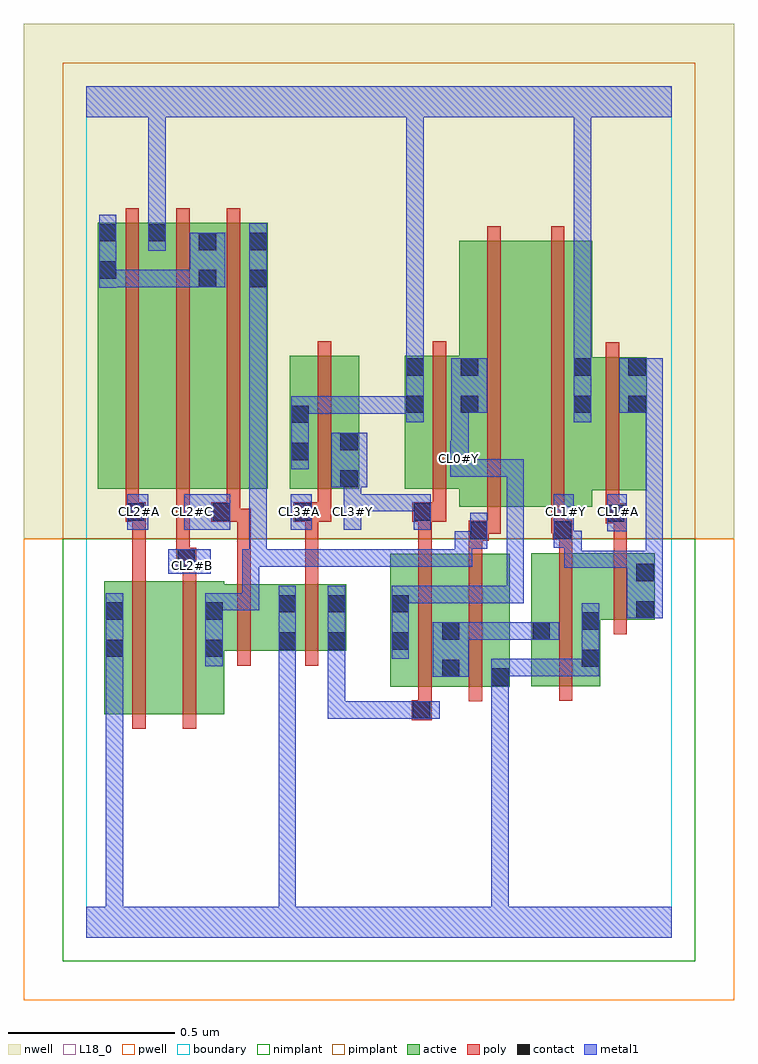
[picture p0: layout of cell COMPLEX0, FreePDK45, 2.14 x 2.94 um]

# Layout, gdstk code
import gdstk
lib = gdstk.Library(unit=1e-6, precision=1e-09)
def R(c, l, rs):  # rectangles x0, y0, x1, y1
    for r in rs: c.add(gdstk.rectangle(r[:2], r[2:], *l))
def A(c, l, x, y, w, h, nx, ny, dx, dy):  # array of equal rectangles
    R(c, l, [(x+i*dx, y+j*dy, x+i*dx+w, y+j*dy+h) for i in range(nx) for j in range(ny)])
active = (1, 0)
pwell = (2, 0)
nwell = (3, 0)
nimplant = (4, 0)
pimplant = (5, 0)
poly = (9, 0)
contact = (10, 0)
metal1 = (11, 0)
L18_0 = (18, 0)
boundary = (235, 0)

complex0 = lib.new_cell('COMPLEX0')
R(complex0, active, [(0.054,0.672,0.234,1.072), (0.234,0.672,0.414,1.072), (0.354,0.672,0.414,1.012), (0.914,0.754,1.126,1.154), (1.066,0.754,1.274,1.154), (1.214,0.754,1.274,1.154), (0.054,0.756,0.114,1.072), (0.914,0.756,0.974,1.154), (1.066,0.756,1.126,1.154), (1.338,0.756,1.398,1.156), (1.338,0.756,1.546,1.156), (1.486,0.756,1.546,1.156), (0.354,0.862,0.634,1.062), (0.574,0.862,0.782,1.062), (0.574,0.862,0.634,1.034), (0.722,0.862,0.782,1.062), (1.486,0.956,1.71,1.156), (1.65,0.956,1.71,1.156), (1.122,1.296,1.342,2.096), (1.342,1.296,1.522,2.096), (1.462,1.346,1.522,1.746), (1.462,1.346,1.686,1.746), (1.626,1.346,1.686,1.746), (0.034,1.35,0.242,2.15), (0.034,1.35,0.094,2.15), (0.182,1.35,0.394,2.15), (0.334,1.35,0.394,2.124), (0.334,1.35,0.546,2.15), (0.486,1.35,0.546,2.124), (0.612,1.35,0.82,1.75), (0.612,1.35,0.672,1.644), (0.76,1.35,0.82,1.644), (0.958,1.35,1.018,1.75), (0.958,1.35,1.182,1.75), (1.122,1.35,1.182,1.746), (0.182,1.686,0.242,2.15)])
R(complex0, pwell, [(-0.188,-0.188,1.948,1.2)])
R(complex0, nwell, [(-0.188,1.2,1.948,2.748)])
R(complex0, nimplant, [(-0.072,-0.072,1.832,1.2)])
R(complex0, pimplant, [(-0.072,1.2,1.832,2.632)])
A(complex0, poly, 0.118, 1.306, 0.04, 0.888, 3, 1, 0.152, 0)
R(complex0, poly, [(0.138,0.628,0.178,1.116), (0.29,0.628,0.33,1.116), (0.978,0.654,1.038,0.714), (0.998,0.674,1.038,0.75), (0.998,0.71,1.038,1.198), (1.15,0.71,1.19,1.198), (1.422,0.712,1.462,1.2), (0.454,0.818,0.494,1.106), (0.658,0.818,0.698,1.106), (1.586,0.912,1.626,1.2), (0.454,1.066,0.494,1.29), (0.658,1.066,0.698,1.29), (0.138,1.076,0.178,1.29), (0.29,1.076,0.33,1.152), (0.27,1.112,0.33,1.172), (0.27,1.132,0.31,1.172), (0.27,1.132,0.31,1.172), (0.27,1.132,0.31,1.346), (0.998,1.158,1.038,1.29), (1.15,1.158,1.19,1.234), (1.422,1.16,1.462,1.236), (1.586,1.16,1.626,1.286), (1.15,1.194,1.21,1.254), (1.402,1.196,1.462,1.256), (1.17,1.214,1.21,1.254), (1.17,1.214,1.246,1.254), (1.206,1.214,1.246,1.292), (1.398,1.216,1.438,1.292), (1.398,1.216,1.442,1.256), (1.402,1.216,1.442,1.256), (1.562,1.246,1.622,1.306), (1.582,1.246,1.622,1.286), (1.582,1.246,1.626,1.286), (0.118,1.25,0.178,1.31), (0.138,1.25,0.178,1.29), (0.138,1.25,0.178,1.29), (0.376,1.25,0.462,1.31), (0.422,1.25,0.462,1.29), (0.422,1.25,0.494,1.29), (0.622,1.25,0.736,1.31), (0.658,1.25,0.698,1.29), (0.658,1.25,0.698,1.29), (0.98,1.25,1.082,1.31), (0.998,1.25,1.038,1.29), (0.998,1.25,1.038,1.29), (1.206,1.252,1.246,2.14), (1.398,1.252,1.438,2.14), (1.562,1.266,1.602,1.342), (0.118,1.27,0.158,1.346), (0.422,1.27,0.462,1.346), (0.696,1.27,0.736,1.346), (1.042,1.27,1.082,1.346), (1.562,1.302,1.602,1.79), (0.696,1.306,0.736,1.794), (1.042,1.306,1.082,1.794)])
R(complex0, contact, [(0.982,0.658,1.034,0.71), (1.218,0.758,1.27,0.81), (1.07,0.784,1.122,0.836), (1.49,0.814,1.542,0.866), (0.058,0.844,0.11,0.896), (0.358,0.844,0.41,0.896), (0.578,0.866,0.63,0.918), (0.726,0.866,0.778,0.918), (0.918,0.866,0.97,0.918), (1.07,0.896,1.122,0.948), (1.342,0.896,1.394,0.948), (1.49,0.926,1.542,0.978), (0.058,0.956,0.11,1.008), (0.358,0.956,0.41,1.008), (1.654,0.96,1.706,1.012), (0.578,0.978,0.63,1.03), (0.726,0.978,0.778,1.03), (0.918,0.978,0.97,1.03), (1.654,1.072,1.706,1.124), (0.274,1.116,0.326,1.168), (1.154,1.198,1.206,1.25), (1.406,1.2,1.458,1.252), (1.566,1.25,1.618,1.302), (0.122,1.254,0.174,1.306), (0.38,1.254,0.432,1.306), (0.626,1.254,0.678,1.306), (0.984,1.254,1.036,1.306), (0.764,1.354,0.816,1.406), (0.616,1.436,0.668,1.488), (0.764,1.466,0.816,1.518), (0.616,1.548,0.668,1.6), (0.962,1.578,1.014,1.63), (1.126,1.578,1.178,1.63), (1.466,1.578,1.518,1.63), (1.63,1.578,1.682,1.63), (0.962,1.69,1.014,1.742), (1.126,1.69,1.178,1.742), (1.466,1.69,1.518,1.742), (1.63,1.69,1.682,1.742), (0.338,1.956,0.39,2.008), (0.49,1.956,0.542,2.008), (0.038,1.982,0.09,2.034), (0.338,2.068,0.39,2.12), (0.49,2.068,0.542,2.12), (0.038,2.094,0.09,2.146), (0.186,2.094,0.238,2.146)])
R(complex0, metal1, [(0,0,1.76,0.092), (0.058,0.04,0.11,0.868), (0.578,0.04,0.63,0.092), (0.578,0.04,0.63,0.092), (0.578,0.04,0.63,0.092), (0.578,0.04,0.63,0.092), (0.578,0.04,0.63,0.092), (0.578,0.04,0.63,0.092), (0.578,0.04,0.63,0.092), (0.578,0.04,0.63,0.092), (0.578,0.04,0.63,0.89), (1.218,0.04,1.27,0.092), (1.218,0.04,1.27,0.092), (1.218,0.04,1.27,0.092), (1.218,0.04,1.27,0.092), (1.218,0.04,1.27,0.092), (1.218,0.04,1.27,0.092), (1.218,0.04,1.27,0.092), (1.218,0.04,1.27,0.092), (1.218,0.04,1.27,0.092), (1.218,0.04,1.27,0.092), (1.218,0.04,1.27,0.092), (1.218,0.04,1.27,0.092), (1.218,0.04,1.27,0.782), (0.726,0.658,0.778,0.71), (0.726,0.658,0.778,0.71), (0.726,0.658,0.778,0.71), (0.726,0.658,0.778,0.71), (0.726,0.658,0.778,0.71), (0.726,0.658,0.984,0.71), (0.726,0.658,0.778,0.89), (0.932,0.658,0.984,0.71), (0.932,0.658,1.006,0.71), (0.954,0.658,1.062,0.71), (1.218,0.73,1.27,0.838), (1.042,0.784,1.15,0.948), (1.218,0.786,1.38,0.838), (1.328,0.786,1.38,0.838), (1.328,0.786,1.38,0.838), (1.328,0.786,1.38,0.838), (1.328,0.786,1.542,0.838), (1.49,0.786,1.542,1.006), (0.058,0.816,0.11,0.868), (0.058,0.816,0.11,0.868), (0.058,0.816,0.11,0.868), (0.058,0.816,0.11,0.868), (0.058,0.816,0.11,0.868), (0.058,0.816,0.11,0.868), (0.058,0.816,0.11,0.868), (0.058,0.816,0.11,0.868), (0.058,0.816,0.11,0.868), (0.058,0.816,0.11,0.868), (0.058,0.816,0.11,0.868), (0.058,0.816,0.11,0.868), (0.058,0.816,0.11,1.036), (0.358,0.816,0.41,1.036), (0.578,0.838,0.63,0.89), (0.578,0.838,0.63,0.89), (0.578,0.838,0.63,0.89), (0.578,0.838,0.63,0.89), (0.578,0.838,0.63,0.89), (0.578,0.838,0.63,0.89), (0.578,0.838,0.63,0.89), (0.578,0.838,0.63,0.89), (0.578,0.838,0.63,1.058), (0.726,0.838,0.778,1.058), (0.918,0.838,0.97,1.058), (1.098,0.896,1.15,0.948), (1.098,0.896,1.15,0.948), (1.098,0.896,1.27,0.948), (1.218,0.896,1.27,0.948), (1.218,0.896,1.366,0.948), (1.314,0.896,1.422,0.948), (1.626,0.96,1.734,1.124), (0.358,0.984,0.52,1.036), (0.468,0.984,0.52,1.036), (0.468,0.984,0.52,1.036), (0.468,0.984,0.52,1.036), (0.468,0.984,0.52,1.168), (0.918,1.006,1.04,1.058), (0.988,1.006,1.04,1.058), (0.988,1.006,1.16,1.058), (1.108,1.006,1.16,1.058), (1.108,1.006,1.16,1.058), (1.108,1.006,1.16,1.058), (1.108,1.006,1.316,1.058), (1.264,1.006,1.316,1.058), (1.264,1.006,1.316,1.438), (1.682,1.072,1.734,1.164), (0.246,1.094,0.374,1.168), (1.438,1.112,1.734,1.164), (1.438,1.112,1.49,1.224), (1.682,1.112,1.734,1.63), (1.682,1.112,1.734,1.164), (1.682,1.112,1.734,1.164), (1.682,1.112,1.734,1.164), (1.682,1.112,1.734,1.164), (1.682,1.112,1.734,1.164), (0.468,1.116,0.542,1.168), (0.49,1.116,0.542,1.168), (0.49,1.116,0.542,1.168), (0.49,1.116,0.668,1.168), (0.49,1.116,0.542,1.98), (0.616,1.116,0.668,1.168), (0.616,1.116,0.826,1.168), (0.774,1.116,0.826,1.168), (0.774,1.116,0.826,1.168), (0.774,1.116,0.826,1.168), (0.774,1.116,0.936,1.168), (0.884,1.116,0.936,1.168), (0.884,1.116,0.936,1.168), (0.884,1.116,0.936,1.168), (0.884,1.116,1.16,1.168), (1.108,1.116,1.16,1.222), (1.108,1.17,1.206,1.222), (1.154,1.17,1.206,1.278), (1.406,1.172,1.466,1.334), (1.414,1.172,1.49,1.224), (1.566,1.222,1.626,1.334), (0.122,1.226,0.186,1.334), (0.294,1.226,0.432,1.334), (0.614,1.226,0.678,1.334), (0.774,1.226,0.826,1.334), (0.984,1.226,1.036,1.334), (0.774,1.282,0.936,1.334), (0.774,1.282,0.826,1.406), (0.884,1.282,0.936,1.334), (0.884,1.282,1.036,1.334), (0.736,1.354,0.844,1.518), (1.094,1.386,1.15,1.494), (1.098,1.386,1.15,1.438), (1.098,1.386,1.15,1.438), (1.098,1.386,1.316,1.438), (1.264,1.386,1.316,1.438), (1.264,1.386,1.316,1.438), (1.264,1.386,1.316,1.438), (0.616,1.408,0.668,1.628), (1.098,1.442,1.15,1.63), (0.962,1.55,1.014,1.77), (1.466,1.55,1.518,1.77), (0.616,1.576,0.826,1.628), (0.774,1.576,0.826,1.628), (0.774,1.576,0.826,1.628), (0.774,1.576,0.826,1.628), (0.774,1.576,1.014,1.628), (1.098,1.578,1.206,1.742), (1.602,1.578,1.734,1.742), (0.962,1.718,1.014,1.77), (0.962,1.718,1.014,1.77), (0.962,1.718,1.014,2.52), (1.466,1.718,1.518,1.77), (1.466,1.718,1.518,1.77), (1.466,1.718,1.518,1.77), (1.466,1.718,1.518,1.77), (1.466,1.718,1.518,1.77), (1.466,1.718,1.518,1.77), (1.466,1.718,1.518,2.52), (0.49,1.928,0.542,2.148), (0.038,1.954,0.09,2.174), (0.038,1.956,0.09,2.008), (0.038,1.956,0.09,2.008), (0.038,1.956,0.236,2.008), (0.184,1.956,0.236,2.008), (0.184,1.956,0.236,2.008), (0.184,1.956,0.236,2.008), (0.184,1.956,0.362,2.008), (0.31,1.956,0.418,2.12), (0.186,2.066,0.238,2.174), (0.186,2.122,0.238,2.174), (0.186,2.122,0.238,2.174), (0.186,2.122,0.238,2.52), (0,2.468,1.76,2.56), (0.186,2.468,0.238,2.52), (0.186,2.468,0.238,2.52), (0.186,2.468,0.238,2.52), (0.186,2.468,0.238,2.52), (0.186,2.468,0.238,2.52), (0.186,2.468,0.238,2.52), (0.962,2.468,1.014,2.52), (0.962,2.468,1.014,2.52), (0.962,2.468,1.014,2.52), (0.962,2.468,1.014,2.52), (0.962,2.468,1.014,2.52), (0.962,2.468,1.014,2.52), (0.962,2.468,1.014,2.52), (0.962,2.468,1.014,2.52), (0.962,2.468,1.014,2.52), (0.962,2.468,1.014,2.52), (0.962,2.468,1.014,2.52), (0.962,2.468,1.014,2.52), (0.962,2.468,1.014,2.52), (0.962,2.468,1.014,2.52), (1.466,2.468,1.518,2.52), (1.466,2.468,1.518,2.52)])
R(complex0, L18_0, [(0,0,1.76,0.092), (0.058,0.04,0.11,0.868), (0.578,0.04,0.63,0.092), (0.578,0.04,0.63,0.092), (0.578,0.04,0.63,0.092), (0.578,0.04,0.63,0.092), (0.578,0.04,0.63,0.092), (0.578,0.04,0.63,0.092), (0.578,0.04,0.63,0.092), (0.578,0.04,0.63,0.092), (0.578,0.04,0.63,0.89), (1.218,0.04,1.27,0.092), (1.218,0.04,1.27,0.092), (1.218,0.04,1.27,0.092), (1.218,0.04,1.27,0.092), (1.218,0.04,1.27,0.092), (1.218,0.04,1.27,0.092), (1.218,0.04,1.27,0.092), (1.218,0.04,1.27,0.092), (1.218,0.04,1.27,0.092), (1.218,0.04,1.27,0.092), (1.218,0.04,1.27,0.092), (1.218,0.04,1.27,0.092), (1.218,0.04,1.27,0.782), (0.726,0.658,0.778,0.71), (0.726,0.658,0.778,0.71), (0.726,0.658,0.778,0.71), (0.726,0.658,0.778,0.71), (0.726,0.658,0.778,0.71), (0.726,0.658,0.778,0.89), (0.726,0.658,0.984,0.71), (0.932,0.658,0.984,0.71), (0.932,0.658,1.006,0.71), (0.954,0.658,1.062,0.71), (1.218,0.73,1.27,0.838), (1.218,0.786,1.38,0.838), (1.328,0.786,1.38,0.838), (1.328,0.786,1.38,0.838), (1.328,0.786,1.38,0.838), (1.328,0.786,1.542,0.838), (1.49,0.786,1.542,1.006), (0.058,0.816,0.11,0.868), (0.058,0.816,0.11,0.868), (0.058,0.816,0.11,0.868), (0.058,0.816,0.11,0.868), (0.058,0.816,0.11,0.868), (0.058,0.816,0.11,0.868), (0.058,0.816,0.11,0.868), (0.058,0.816,0.11,0.868), (0.058,0.816,0.11,0.868), (0.058,0.816,0.11,0.868), (0.058,0.816,0.11,0.868), (0.058,0.816,0.11,0.868), (0.058,0.816,0.11,1.036), (0.578,0.838,0.63,0.89), (0.578,0.838,0.63,0.89), (0.578,0.838,0.63,0.89), (0.578,0.838,0.63,0.89), (0.578,0.838,0.63,0.89), (0.578,0.838,0.63,0.89), (0.578,0.838,0.63,0.89), (0.578,0.838,0.63,0.89), (0.578,0.838,0.63,1.058), (0.726,0.838,0.778,1.058), (0.918,0.838,0.97,1.058), (1.626,0.96,1.734,1.124), (0.918,1.006,1.04,1.058), (0.988,1.006,1.04,1.058), (0.988,1.006,1.16,1.058), (1.108,1.006,1.16,1.058), (1.108,1.006,1.16,1.058), (1.108,1.006,1.16,1.058), (1.108,1.006,1.316,1.058), (1.264,1.006,1.316,1.058), (1.264,1.006,1.316,1.438), (1.682,1.072,1.734,1.164), (0.246,1.094,0.374,1.168), (0.294,1.094,0.346,1.146), (1.438,1.112,1.49,1.224), (1.438,1.112,1.734,1.164), (1.682,1.112,1.734,1.164), (1.682,1.112,1.734,1.164), (1.682,1.112,1.734,1.164), (1.682,1.112,1.734,1.164), (1.682,1.112,1.734,1.164), (1.682,1.112,1.734,1.63), (1.406,1.172,1.466,1.334), (1.414,1.172,1.49,1.224), (1.566,1.222,1.626,1.334), (0.122,1.226,0.186,1.334), (0.294,1.226,0.432,1.334), (0.614,1.226,0.678,1.334), (0.774,1.226,0.826,1.334), (0.984,1.226,1.036,1.334), (0.134,1.254,0.186,1.306), (0.294,1.254,0.346,1.306), (0.614,1.254,0.666,1.306), (0.774,1.254,0.826,1.306), (1.414,1.254,1.466,1.306), (1.574,1.254,1.626,1.306), (0.774,1.282,0.826,1.406), (0.774,1.282,0.936,1.334), (0.884,1.282,0.936,1.334), (0.884,1.282,1.036,1.334), (0.736,1.354,0.844,1.518), (1.094,1.386,1.15,1.494), (1.098,1.386,1.15,1.438), (1.098,1.386,1.15,1.438), (1.098,1.386,1.316,1.438), (1.264,1.386,1.316,1.438), (1.264,1.386,1.316,1.438), (1.264,1.386,1.316,1.438), (0.616,1.408,0.668,1.628), (1.094,1.414,1.146,1.466), (1.098,1.442,1.15,1.63), (0.962,1.55,1.014,1.77), (1.466,1.55,1.518,1.77), (0.616,1.576,0.826,1.628), (0.774,1.576,0.826,1.628), (0.774,1.576,0.826,1.628), (0.774,1.576,0.826,1.628), (0.774,1.576,1.014,1.628), (1.098,1.578,1.206,1.742), (1.602,1.578,1.734,1.742), (0.962,1.718,1.014,1.77), (0.962,1.718,1.014,1.77), (0.962,1.718,1.014,2.52), (1.466,1.718,1.518,1.77), (1.466,1.718,1.518,1.77), (1.466,1.718,1.518,1.77), (1.466,1.718,1.518,1.77), (1.466,1.718,1.518,1.77), (1.466,1.718,1.518,1.77), (1.466,1.718,1.518,2.52), (0.186,2.066,0.238,2.174), (0.186,2.122,0.238,2.174), (0.186,2.122,0.238,2.174), (0.186,2.122,0.238,2.52), (0,2.468,1.76,2.56), (0.186,2.468,0.238,2.52), (0.186,2.468,0.238,2.52), (0.186,2.468,0.238,2.52), (0.186,2.468,0.238,2.52), (0.186,2.468,0.238,2.52), (0.186,2.468,0.238,2.52), (0.962,2.468,1.014,2.52), (0.962,2.468,1.014,2.52), (0.962,2.468,1.014,2.52), (0.962,2.468,1.014,2.52), (0.962,2.468,1.014,2.52), (0.962,2.468,1.014,2.52), (0.962,2.468,1.014,2.52), (0.962,2.468,1.014,2.52), (0.962,2.468,1.014,2.52), (0.962,2.468,1.014,2.52), (0.962,2.468,1.014,2.52), (0.962,2.468,1.014,2.52), (0.962,2.468,1.014,2.52), (0.962,2.468,1.014,2.52), (1.466,2.468,1.518,2.52), (1.466,2.468,1.518,2.52)])
R(complex0, boundary, [(0,0,1.76,2.56)])
complex0.add(gdstk.Label('CL0#Y', (1.12,1.44), layer=11, texttype=0))
complex0.add(gdstk.Label('CL1#A', (1.6,1.28), layer=11, texttype=0))
complex0.add(gdstk.Label('CL1#Y', (1.44,1.28), layer=11, texttype=0))
complex0.add(gdstk.Label('CL2#A', (0.16,1.28), layer=11, texttype=0))
complex0.add(gdstk.Label('CL2#B', (0.32,1.12), layer=11, texttype=0))
complex0.add(gdstk.Label('CL2#C', (0.32,1.28), layer=11, texttype=0))
complex0.add(gdstk.Label('CL3#A', (0.64,1.28), layer=11, texttype=0))
complex0.add(gdstk.Label('CL3#Y', (0.8,1.28), layer=11, texttype=0))

lib.write_gds('COMPLEX0.gds')
